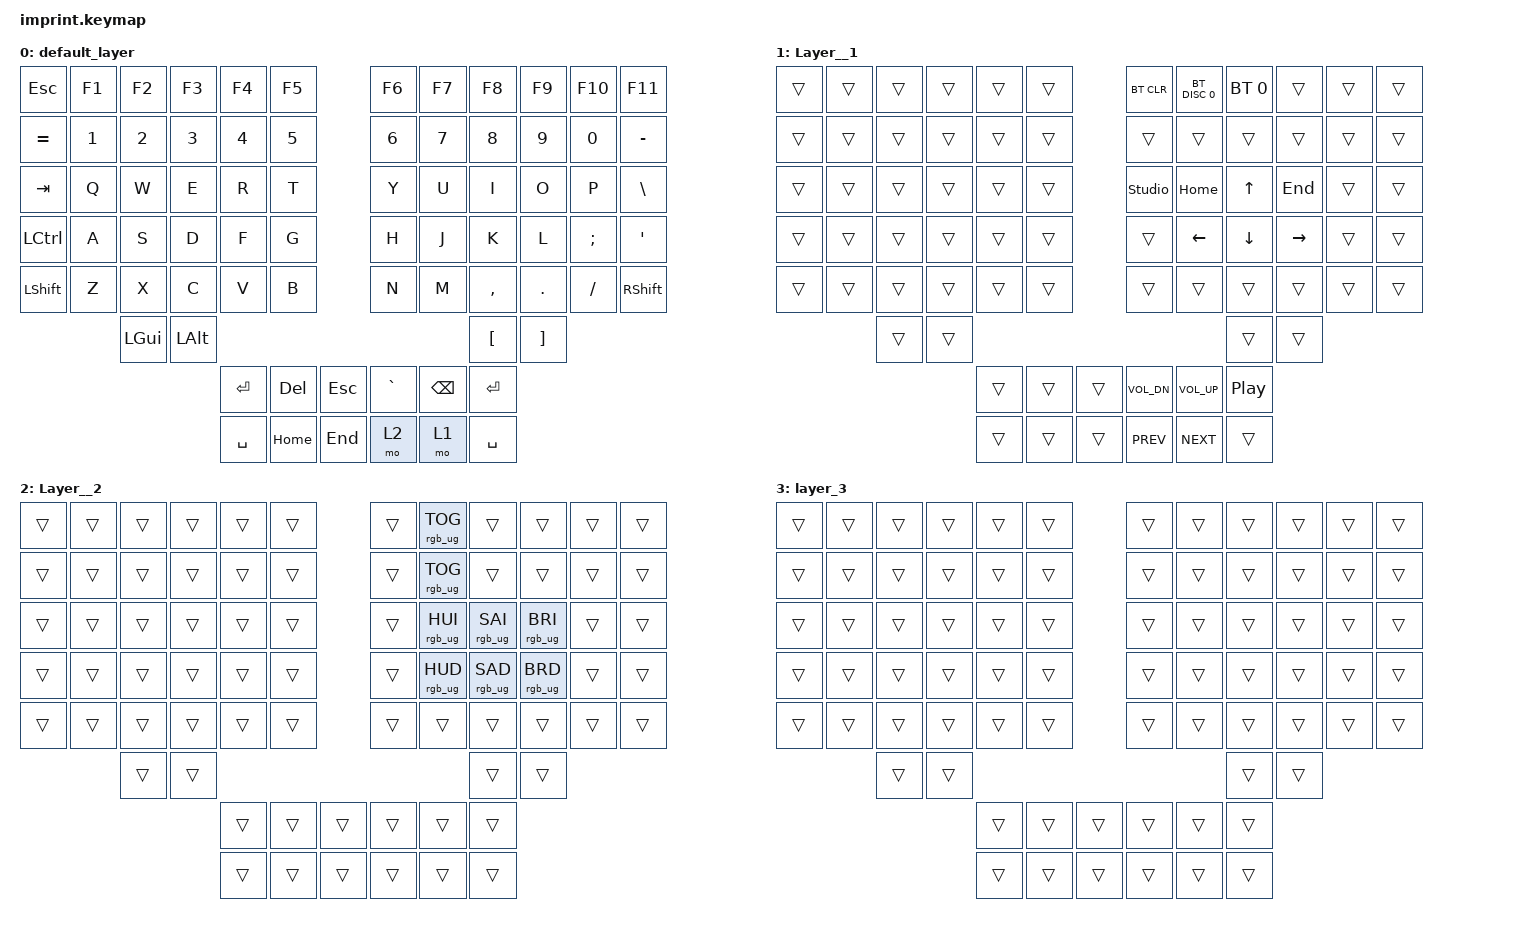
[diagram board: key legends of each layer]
#include <behaviors.dtsi>
#include <dt-bindings/zmk/bt.h>
#include <dt-bindings/zmk/keys.h>
#include <dt-bindings/zmk/rgb.h>

/ {
    chosen { zmk,matrix-transform = &imprint_function_row; };

    keymap {
        compatible = "zmk,keymap";

        default_layer {
            bindings = <
&kp ESC    &kp F1  &kp F2    &kp F3    &kp F4     &kp F5               &kp F6     &kp F7    &kp F8     &kp F9    &kp F10   &kp F11
&kp EQL    &kp N1  &kp N2    &kp N3    &kp N4     &kp N5               &kp N6     &kp N7    &kp N8     &kp N9    &kp N0    &kp MINUS
&kp TAB    &kp Q   &kp W     &kp E     &kp R      &kp T                &kp Y      &kp U     &kp I      &kp O     &kp P     &kp BSLH
&kp LCTRL  &kp A   &kp S     &kp D     &kp F      &kp G                &kp H      &kp J     &kp K      &kp L     &kp SEMI  &kp SQT
&kp LSHFT  &kp Z   &kp X     &kp C     &kp V      &kp B                &kp N      &kp M     &kp COMMA  &kp DOT   &kp FSLH  &kp RSHFT
                   &kp LGUI  &kp LALT                                                       &kp LBKT   &kp RBKT
                                       &kp RET    &kp DEL   &kp ESC    &kp GRAVE  &kp BSPC  &kp RET
                                       &kp SPACE  &kp HOME  &kp END    &mo 2      &mo 1     &kp SPACE
            >;
        };

        Layer__1 {
            bindings = <
&trans  &trans  &trans  &trans  &trans  &trans            &bt BT_CLR      &bt BT_DISC 0  &bt BT_SEL 0  &trans     &trans  &trans
&trans  &trans  &trans  &trans  &trans  &trans            &trans          &trans         &trans        &trans     &trans  &trans
&trans  &trans  &trans  &trans  &trans  &trans            &studio_unlock  &kp HOME       &kp UP        &kp END    &trans  &trans
&trans  &trans  &trans  &trans  &trans  &trans            &trans          &kp LEFT       &kp DOWN      &kp RIGHT  &trans  &trans
&trans  &trans  &trans  &trans  &trans  &trans            &trans          &trans         &trans        &trans     &trans  &trans
                &trans  &trans                                                           &trans        &trans
                                &trans  &trans  &trans    &kp C_VOL_DN    &kp C_VOL_UP   &kp C_PP
                                &trans  &trans  &trans    &kp C_PREV      &kp C_NEXT     &trans
            >;
        };

        Layer__2 {
            bindings = <
&trans  &trans  &trans  &trans  &trans  &trans            &trans  &rgb_ug RGB_TOG  &trans           &trans           &trans  &trans
&trans  &trans  &trans  &trans  &trans  &trans            &trans  &rgb_ug RGB_TOG  &trans           &trans           &trans  &trans
&trans  &trans  &trans  &trans  &trans  &trans            &trans  &rgb_ug RGB_HUI  &rgb_ug RGB_SAI  &rgb_ug RGB_BRI  &trans  &trans
&trans  &trans  &trans  &trans  &trans  &trans            &trans  &rgb_ug RGB_HUD  &rgb_ug RGB_SAD  &rgb_ug RGB_BRD  &trans  &trans
&trans  &trans  &trans  &trans  &trans  &trans            &trans  &trans           &trans           &trans           &trans  &trans
                &trans  &trans                                                     &trans           &trans
                                &trans  &trans  &trans    &trans  &trans           &trans
                                &trans  &trans  &trans    &trans  &trans           &trans
            >;
        };

        layer_3 {
            bindings = <
&trans  &trans  &trans  &trans  &trans  &trans            &trans  &trans  &trans  &trans  &trans  &trans
&trans  &trans  &trans  &trans  &trans  &trans            &trans  &trans  &trans  &trans  &trans  &trans
&trans  &trans  &trans  &trans  &trans  &trans            &trans  &trans  &trans  &trans  &trans  &trans
&trans  &trans  &trans  &trans  &trans  &trans            &trans  &trans  &trans  &trans  &trans  &trans
&trans  &trans  &trans  &trans  &trans  &trans            &trans  &trans  &trans  &trans  &trans  &trans
                &trans  &trans                                            &trans  &trans
                                &trans  &trans  &trans    &trans  &trans  &trans
                                &trans  &trans  &trans    &trans  &trans  &trans
            >;
        };
    };
};

// right hand trackball configuration

// &trackball_peripheral_listener {
//     input-processors =

//     activate layer 3 within 500ms of the trackball moving
//     <&zip_temp_layer 3 500>;
// };

//left hand trackball configuration

&trackball_central_listener {
    input-processors =
        // multiply sensitivity by 1, divide by 3 (make it slower for scrolling),
        <&zip_xy_scaler 1 3>,
        // make this trackball output scrolling events by default instead of cursor movement,
        <&zip_xy_to_scroll_mapper>,
        // invert vertical scrolling so that the view moves in the same direction as the top of the trackball.,
        <&zip_scroll_transform INPUT_TRANSFORM_Y_INVERT>;
};
